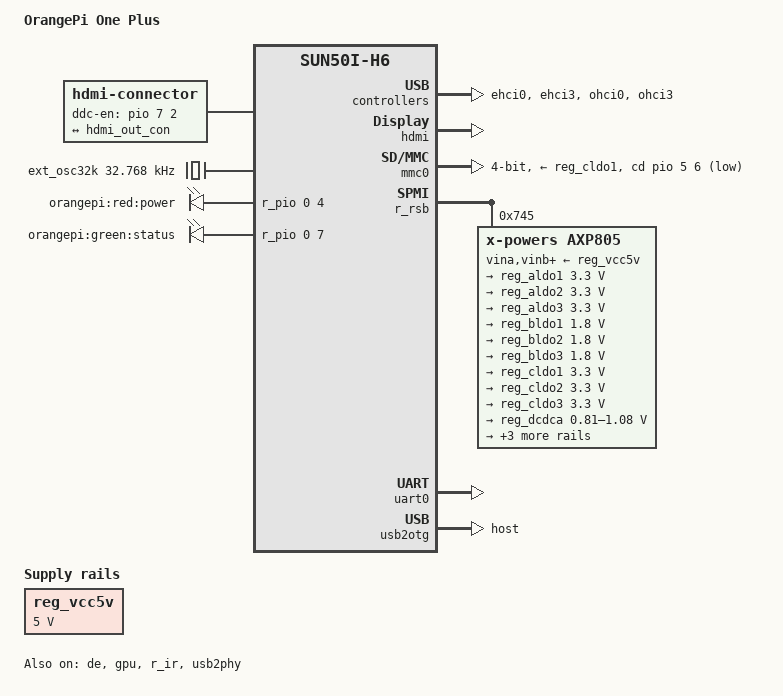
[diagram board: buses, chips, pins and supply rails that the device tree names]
// SPDX-License-Identifier: (GPL-2.0+ OR MIT)
// Copyright (C) 2018 Amarula Solutions
// Author: Jagan Teki <jagan@amarulasolutions.com>

/dts-v1/;

#include "sun50i-h6.dtsi"

#include <dt-bindings/gpio/gpio.h>

/ {
	model = "OrangePi One Plus";
	compatible = "xunlong,orangepi-one-plus", "allwinner,sun50i-h6";

	aliases {
		serial0 = &uart0;
	};

	chosen {
		stdout-path = "serial0:115200n8";
	};

	connector {
		compatible = "hdmi-connector";
		type = "a";
		ddc-en-gpios = <&pio 7 2 GPIO_ACTIVE_HIGH>; /* PH2 */

		port {
			hdmi_con_in: endpoint {
				remote-endpoint = <&hdmi_out_con>;
			};
		};
	};

	ext_osc32k: ext-osc32k-clk {
		#clock-cells = <0>;
		compatible = "fixed-clock";
		clock-frequency = <32768>;
		clock-output-names = "ext_osc32k";
	};

	leds {
		compatible = "gpio-leds";

		led-0 {
			label = "orangepi:red:power";
			gpios = <&r_pio 0 4 GPIO_ACTIVE_HIGH>; /* PL4 */
			default-state = "on";
		};

		led-1 {
			label = "orangepi:green:status";
			gpios = <&r_pio 0 7 GPIO_ACTIVE_HIGH>; /* PL7 */
		};
	};

	reg_vcc5v: vcc5v {
		/* board wide 5V supply directly from the DC jack */
		compatible = "regulator-fixed";
		regulator-name = "vcc-5v";
		regulator-min-microvolt = <5000000>;
		regulator-max-microvolt = <5000000>;
		regulator-always-on;
	};
};

&de {
	status = "okay";
};

&ehci0 {
	status = "okay";
};

&ehci3 {
	status = "okay";
};

&gpu {
	mali-supply = <&reg_dcdcc>;
	status = "okay";
};

&hdmi {
	status = "okay";
};

&hdmi_out {
	hdmi_out_con: endpoint {
		remote-endpoint = <&hdmi_con_in>;
	};
};

&mmc0 {
	vmmc-supply = <&reg_cldo1>;
	cd-gpios = <&pio 5 6 GPIO_ACTIVE_LOW>;
	bus-width = <4>;
	status = "okay";
};

&ohci0 {
	status = "okay";
};

&ohci3 {
	status = "okay";
};

&pio {
	vcc-pc-supply = <&reg_bldo2>;
	vcc-pd-supply = <&reg_cldo1>;
	vcc-pg-supply = <&reg_aldo1>;
};

&r_ir {
	status = "okay";
};

&r_pio {
	vcc-pm-supply = <&reg_bldo3>;
};

&r_rsb {
	status = "okay";

	axp805: pmic@745 {
		compatible = "x-powers,axp805", "x-powers,axp806";
		reg = <0x745>;
		interrupt-parent = <&r_intc>;
		interrupts = <GIC_SPI 96 IRQ_TYPE_LEVEL_LOW>;
		interrupt-controller;
		#interrupt-cells = <1>;
		x-powers,self-working-mode;
		vina-supply = <&reg_vcc5v>;
		vinb-supply = <&reg_vcc5v>;
		vinc-supply = <&reg_vcc5v>;
		vind-supply = <&reg_vcc5v>;
		vine-supply = <&reg_vcc5v>;
		aldoin-supply = <&reg_vcc5v>;
		bldoin-supply = <&reg_vcc5v>;
		cldoin-supply = <&reg_vcc5v>;

		regulators {
			reg_aldo1: aldo1 {
				regulator-always-on;
				regulator-min-microvolt = <3300000>;
				regulator-max-microvolt = <3300000>;
				regulator-name = "vcc-pl";
			};

			reg_aldo2: aldo2 {
				regulator-min-microvolt = <3300000>;
				regulator-max-microvolt = <3300000>;
				regulator-name = "vcc-ac200";
			};

			reg_aldo3: aldo3 {
				regulator-always-on;
				regulator-min-microvolt = <3300000>;
				regulator-max-microvolt = <3300000>;
				regulator-name = "vcc25-dram";
			};

			reg_bldo1: bldo1 {
				regulator-always-on;
				regulator-min-microvolt = <1800000>;
				regulator-max-microvolt = <1800000>;
				regulator-name = "vcc-bias-pll";
			};

			reg_bldo2: bldo2 {
				regulator-always-on;
				regulator-min-microvolt = <1800000>;
				regulator-max-microvolt = <1800000>;
				regulator-name = "vcc-efuse-pcie-hdmi-io";
			};

			reg_bldo3: bldo3 {
				regulator-always-on;
				regulator-min-microvolt = <1800000>;
				regulator-max-microvolt = <1800000>;
				regulator-name = "vcc-dcxoio";
			};

			bldo4 {
				/* unused */
			};

			reg_cldo1: cldo1 {
				regulator-always-on;
				regulator-min-microvolt = <3300000>;
				regulator-max-microvolt = <3300000>;
				regulator-name = "vcc-3v3";
			};

			reg_cldo2: cldo2 {
				regulator-min-microvolt = <3300000>;
				regulator-max-microvolt = <3300000>;
				regulator-name = "vcc-wifi-1";
			};

			reg_cldo3: cldo3 {
				regulator-min-microvolt = <3300000>;
				regulator-max-microvolt = <3300000>;
				regulator-name = "vcc-wifi-2";
			};

			reg_dcdca: dcdca {
				regulator-always-on;
				regulator-min-microvolt = <810000>;
				regulator-max-microvolt = <1080000>;
				regulator-name = "vdd-cpu";
			};

			reg_dcdcc: dcdcc {
				regulator-enable-ramp-delay = <32000>;
				regulator-min-microvolt = <810000>;
				regulator-max-microvolt = <1080000>;
				regulator-name = "vdd-gpu";
			};

			reg_dcdcd: dcdcd {
				regulator-always-on;
				regulator-min-microvolt = <960000>;
				regulator-max-microvolt = <960000>;
				regulator-name = "vdd-sys";
			};

			reg_dcdce: dcdce {
				regulator-always-on;
				regulator-min-microvolt = <1200000>;
				regulator-max-microvolt = <1200000>;
				regulator-name = "vcc-dram";
			};

			sw {
				/* unused */
			};
		};
	};
};

&rtc {
	clocks = <&ext_osc32k>;
};

&uart0 {
	pinctrl-names = "default";
	pinctrl-0 = <&uart0_ph_pins>;
	status = "okay";
};

&usb2otg {
	/*
	 * OrangePi Lite 2 and One Plus, where this DT is used, don't
	 * have a controllable VBUS even though they do have an ID pin.
	 * Using it as anything but a USB host is unsafe.
	 */
	dr_mode = "host";
	status = "okay";
};

&usb2phy {
	usb0_id_det-gpios = <&pio 2 6 GPIO_ACTIVE_HIGH>; /* PC6 */
	usb0_vbus-supply = <&reg_vcc5v>;
	usb3_vbus-supply = <&reg_vcc5v>;
	status = "okay";
};
